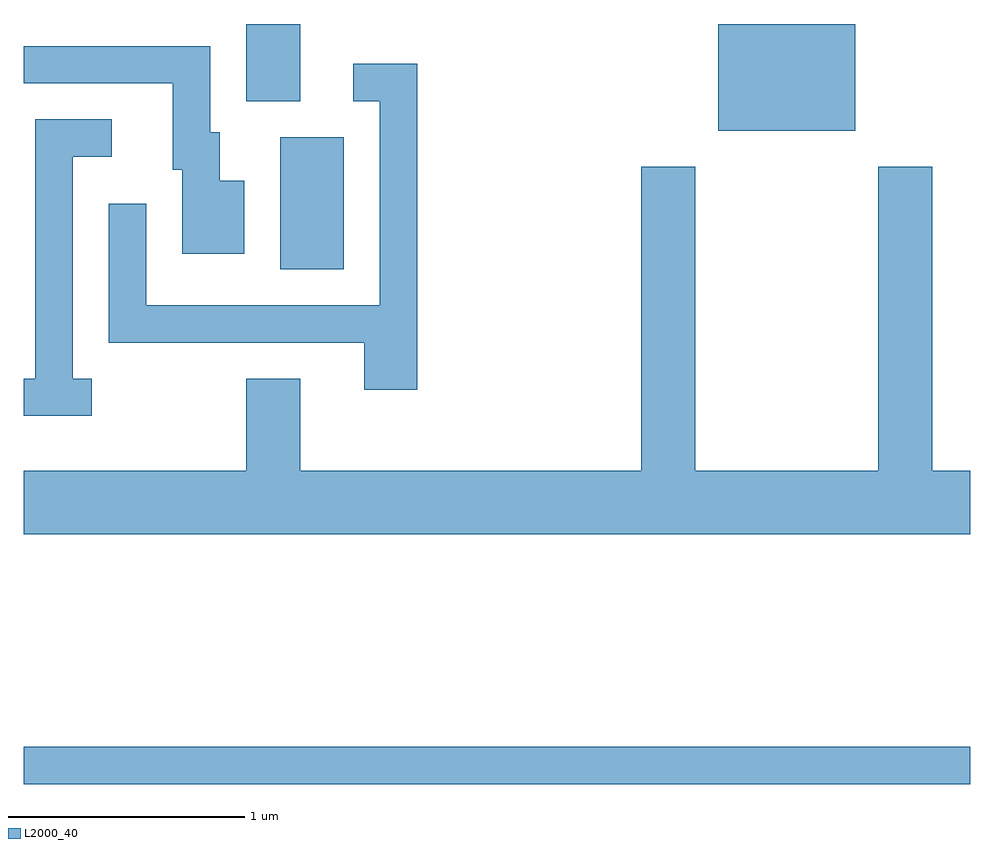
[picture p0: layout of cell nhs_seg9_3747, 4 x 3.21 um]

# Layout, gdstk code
import gdstk
lib = gdstk.Library(unit=1e-6, precision=1e-09)
def R(c, l, rs):  # rectangles x0, y0, x1, y1
    for r in rs: c.add(gdstk.rectangle(r[:2], r[2:], *l))
def P(c, l, *ps):  # polygons
    for p in ps: c.add(gdstk.Polygon(p, *l))
L2000_40 = (2000, 40)

nhs_seg9_3747 = lib.new_cell('nhs_seg9_3747')
R(nhs_seg9_3747, L2000_40, [(295.611,1975.221,299.611,1975.379), (296.696,1977.396,296.964,1977.954), (298.546,1977.981,299.124,1978.432), (296.551,1978.106,296.779,1978.432)])
P(nhs_seg9_3747, L2000_40, [(296.544,1977.769),(296.439,1977.769),(296.439,1977.974),(296.399,1977.974),(296.399,1978.339),(295.611,1978.339),(295.611,1978.181),(296.241,1978.181),(296.241,1977.816),(296.281,1977.816),(296.281,1977.461),(296.544,1977.461)],
  [(297.274,1978.264),(297.003,1978.264),(297.003,1978.106),(297.116,1978.106),(297.116,1977.244),(296.129,1977.244),(296.129,1977.673),(295.971,1977.673),(295.971,1977.086),(297.051,1977.086),(297.051,1976.886),(297.274,1976.886)],
  [(295.898,1976.934),(295.819,1976.934),(295.819,1977.871),(295.983,1977.871),(295.983,1978.029),(295.661,1978.029),(295.661,1976.934),(295.611,1976.934),(295.611,1976.776),(295.898,1976.776)],
  [(299.611,1976.544),(299.449,1976.544),(299.449,1977.829),(299.221,1977.829),(299.221,1976.544),(298.449,1976.544),(298.449,1977.829),(298.221,1977.829),(298.221,1976.544),(296.779,1976.544),(296.779,1976.934),(296.551,1976.934),(296.551,1976.544),(295.611,1976.544),(295.611,1976.276),(299.611,1976.276)])

lib.write_gds('nhs_seg9_3747.gds')
